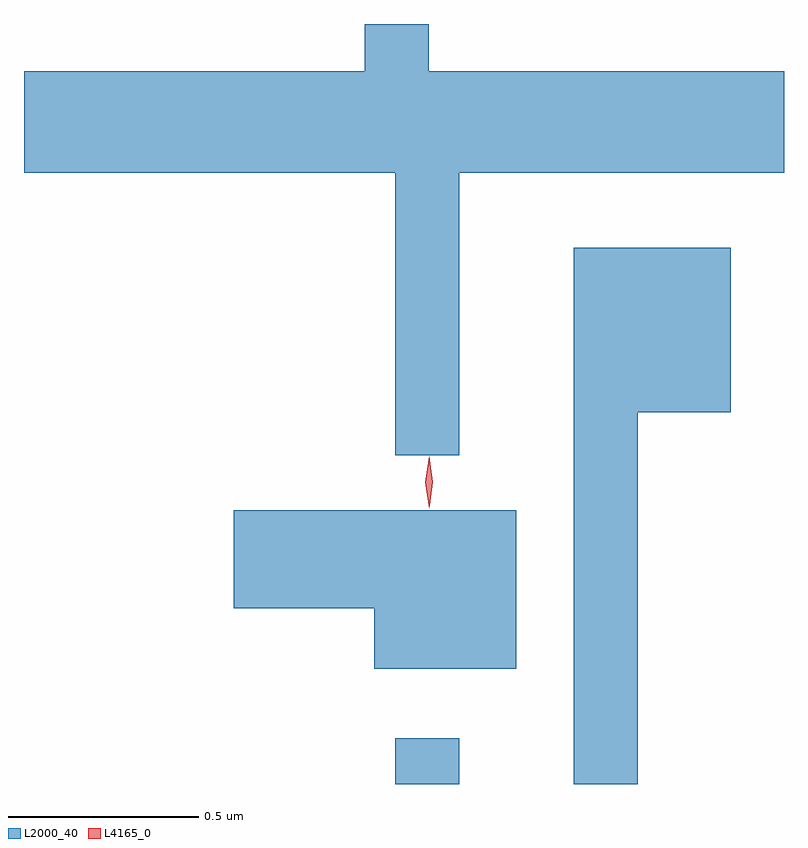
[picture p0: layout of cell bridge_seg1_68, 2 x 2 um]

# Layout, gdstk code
import gdstk
lib = gdstk.Library(unit=1e-6, precision=1e-09)
def R(c, l, rs):  # rectangles x0, y0, x1, y1
    for r in rs: c.add(gdstk.rectangle(r[:2], r[2:], *l))
def P(c, l, *ps):  # polygons
    for p in ps: c.add(gdstk.Polygon(p, *l))
L2000_40 = (2000, 40)
L4165_0 = (4165, 0)

bridge_seg1_68 = lib.new_cell('bridge_seg1_68')
R(bridge_seg1_68, L2000_40, [(1905.141,842.468,1905.309,842.588)])
P(bridge_seg1_68, L2000_40, [(1905.309,844.076),(1906.164,844.076),(1906.164,844.344),(1905.229,844.344),(1905.229,844.468),(1905.061,844.468),(1905.061,844.344),(1904.164,844.344),(1904.164,844.076),(1905.141,844.076),(1905.141,843.333),(1905.309,843.333)],
  [(1905.779,843.446),(1906.024,843.446),(1906.024,843.879),(1905.611,843.879),(1905.611,842.468),(1905.779,842.468)],
  [(1905.459,843.189),(1904.716,843.189),(1904.716,842.931),(1905.086,842.931),(1905.086,842.771),(1905.459,842.771)])
P(bridge_seg1_68, L4165_0, [(1905.23,843.194),(1905.22,843.262),(1905.23,843.33),(1905.23,843.33),(1905.23,843.33),(1905.24,843.262),(1905.231,843.194),(1905.231,843.194)],
  [(1905.231,843.2),(1905.231,843.201),(1905.221,843.263),(1905.23,843.326),(1905.23,843.327),(1905.23,843.326),(1905.24,843.264),(1905.232,843.201)])

lib.write_gds('bridge_seg1_68.gds')
